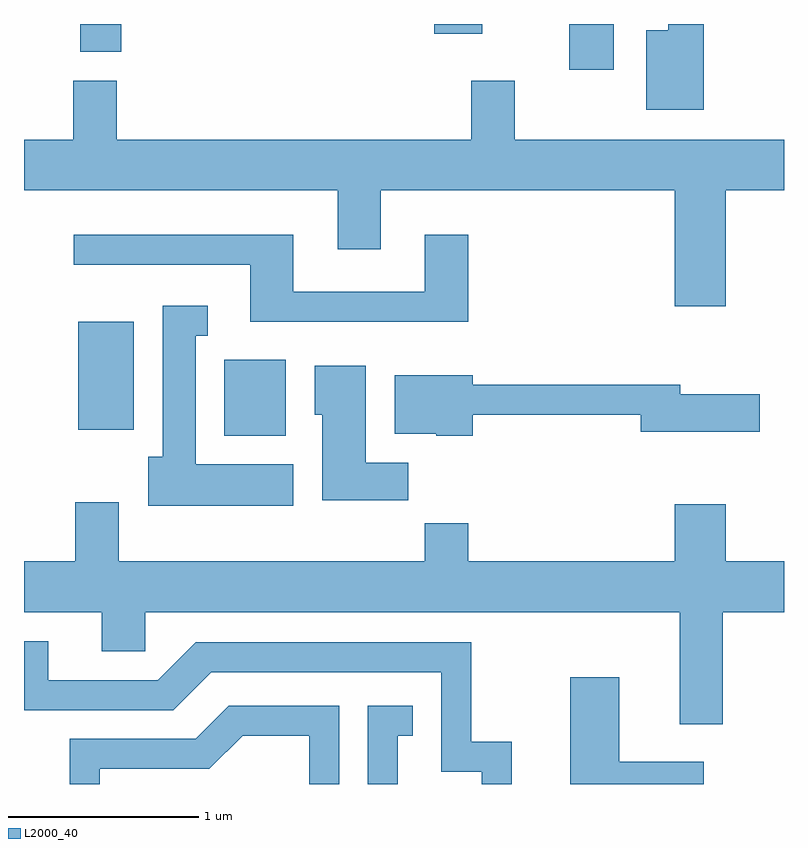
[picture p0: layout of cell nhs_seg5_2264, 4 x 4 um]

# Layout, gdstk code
import gdstk
lib = gdstk.Library(unit=1e-6, precision=1e-09)
def R(c, l, rs):  # rectangles x0, y0, x1, y1
    for r in rs: c.add(gdstk.rectangle(r[:2], r[2:], *l))
def P(c, l, *ps):  # polygons
    for p in ps: c.add(gdstk.Polygon(p, *l))
L2000_40 = (2000, 40)

nhs_seg5_2264 = lib.new_cell('nhs_seg5_2264')
R(nhs_seg5_2264, L2000_40, [(252.666,1499.906,252.989,1500.304), (251.896,1499.936,252.189,1500.504), (254.481,1501.831,254.714,1502.072), (251.906,1501.926,252.124,1502.072), (253.771,1502.021,254.024,1502.072)])
P(nhs_seg5_2264, L2000_40, [(255.189,1502.072),(255.001,1502.072),(255.001,1502.039),(254.886,1502.039),(254.886,1501.621),(255.189,1501.621)],
  [(255.304,1501.196),(255.611,1501.196),(255.611,1501.464),(254.194,1501.464),(254.194,1501.774),(253.966,1501.774),(253.966,1501.464),(252.099,1501.464),(252.099,1501.774),(251.871,1501.774),(251.871,1501.464),(251.611,1501.464),(251.611,1501.196),(253.261,1501.196),(253.261,1500.886),(253.489,1500.886),(253.489,1501.196),(255.036,1501.196),(255.036,1500.586),(255.304,1500.586)],
  [(253.949,1500.964),(253.721,1500.964),(253.721,1500.664),(253.029,1500.664),(253.029,1500.964),(251.873,1500.964),(251.873,1500.806),(252.801,1500.806),(252.801,1500.506),(253.949,1500.506)],
  [(253.029,1499.754),(252.514,1499.754),(252.514,1500.431),(252.578,1500.431),(252.578,1500.589),(252.341,1500.589),(252.341,1499.794),(252.266,1499.794),(252.266,1499.536),(253.029,1499.536)],
  [(253.634,1499.764),(253.409,1499.764),(253.409,1500.274),(253.141,1500.274),(253.141,1500.016),(253.181,1500.016),(253.181,1499.566),(253.634,1499.566)],
  [(253.974,1500.016),(254.856,1500.016),(254.856,1499.926),(255.484,1499.926),(255.484,1500.124),(255.064,1500.124),(255.064,1500.174),(253.974,1500.174),(253.974,1500.224),(253.561,1500.224),(253.561,1499.916),(253.78,1499.916),(253.78,1499.906),(253.974,1499.906)],
  [(255.289,1498.976),(255.611,1498.976),(255.611,1499.244),(255.304,1499.244),(255.304,1499.544),(255.036,1499.544),(255.036,1499.244),(253.949,1499.244),(253.949,1499.444),(253.721,1499.444),(253.721,1499.244),(252.109,1499.244),(252.109,1499.554),(251.881,1499.554),(251.881,1499.244),(251.611,1499.244),(251.611,1498.976),(252.021,1498.976),(252.021,1498.771),(252.249,1498.771),(252.249,1498.976),(255.061,1498.976),(255.061,1498.386),(255.289,1498.386)],
  [(254.179,1498.294),(253.964,1498.294),(253.964,1498.819),(252.514,1498.819),(252.314,1498.619),(251.739,1498.619),(251.739,1498.824),(251.611,1498.824),(251.611,1498.461),(252.397,1498.461),(252.597,1498.661),(253.806,1498.661),(253.806,1498.136),(254.021,1498.136),(254.021,1498.072),(254.179,1498.072)],
  [(255.188,1498.189),(254.744,1498.189),(254.744,1498.634),(254.486,1498.634),(254.486,1498.072),(255.188,1498.072)],
  [(252.009,1498.151),(252.587,1498.151),(252.762,1498.326),(253.111,1498.326),(253.111,1498.072),(253.269,1498.072),(253.269,1498.484),(252.689,1498.484),(252.514,1498.309),(251.851,1498.309),(251.851,1498.072),(252.009,1498.072)],
  [(253.579,1498.326),(253.658,1498.326),(253.658,1498.484),(253.421,1498.484),(253.421,1498.072),(253.579,1498.072)])

lib.write_gds('nhs_seg5_2264.gds')
